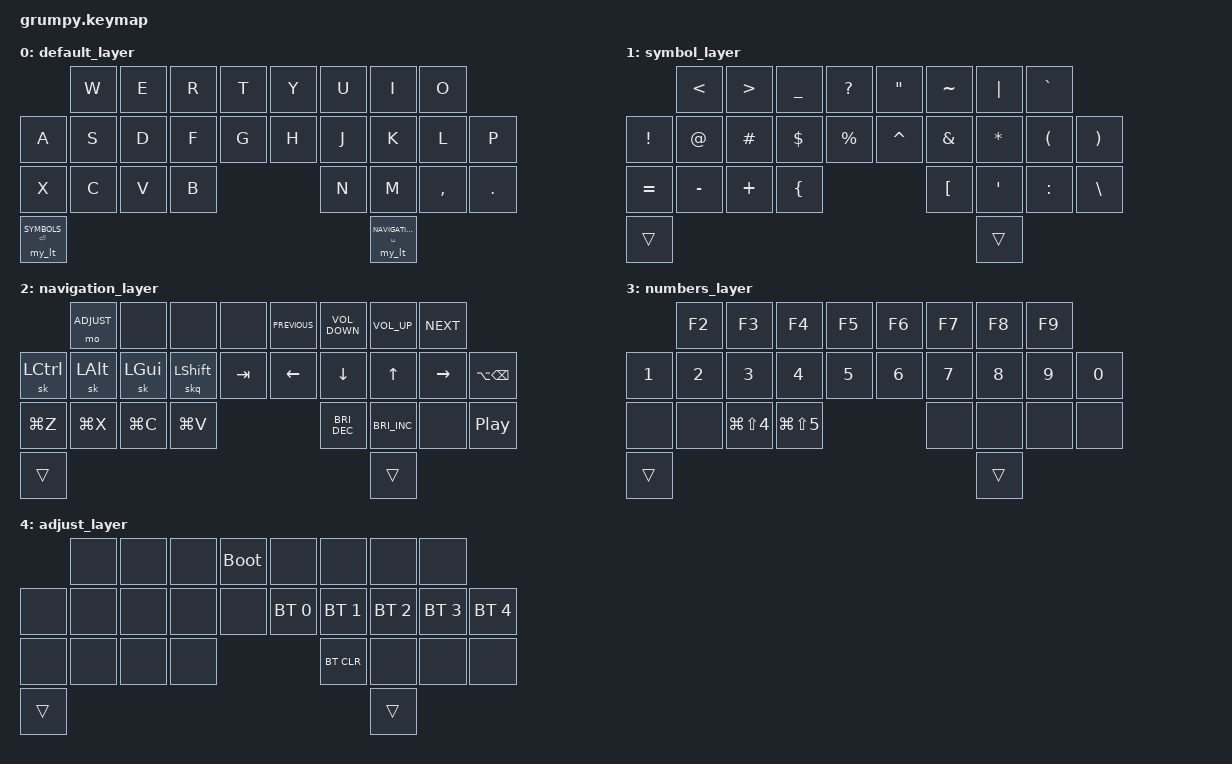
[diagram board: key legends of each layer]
#include "base_grumpy.h"
#include <behaviors.dtsi>
#include <dt-bindings/zmk/backlight.h>
#include <dt-bindings/zmk/bt.h>
#include <dt-bindings/zmk/keys.h>

/ {
    conditional_layers {
        compatible = "zmk,conditional-layers";
        tri_layer {
            if-layers = <SYMBOLS NAVIGATION>;
            then-layer = <NUMBERS>;
        };
    };
};
        //default_layer {
        //    bindings = <
        //                          &kp W &kp E &kp R  &kp T              &kp Y              &kp U &kp I &kp O
        //        &double_tap_key_a &kp S &kp D &kp F  &double_tap_key_g  &double_tap_key_h  &kp J &kp K &kp L   &double_tap_key_semi
        //        &kp Z             &kp X &kp C &kp V                     &kp M              &kp COMMA   &kp DOT &kp SLASH
        //                          &double_tap_key_enter                 &double_tap_key_space
        //    >;
        //};

/ {

    keymap {
        compatible = "zmk,keymap";

        default_layer {
            bindings = <
                      &kp W &kp E &kp R &kp T      &kp Y &kp U  &kp I  &kp O
                &kp A &kp S &kp D &kp F &kp G      &kp H &kp J  &kp K  &kp L   &kp P
                &kp X &kp C &kp V &kp B                  &kp N  &kp M  &kp COMMA &kp DOT
                &my_lt SYMBOLS ENTER                               &my_lt NAVIGATION SPACE
            >;
        };

        symbol_layer {
            bindings = <
                          &kp LT    &kp GT   &kp UNDER &kp QMARK    &kp DQT   &kp TILDE &kp PIPE    &kp GRAVE
                &kp EXCL  &kp AT    &kp HASH &kp DLLR  &kp PRCNT    &kp CARET &kp AMPS &kp ASTERISK &kp LPAR  &kp RPAR
                &kp EQUAL &kp MINUS &kp PLUS &kp LBRC                         &kp LBKT &kp SQT      &kp COLON &kp BSLH
                                             &trans                           &trans
            >;
        };

        navigation_layer {
            bindings = <
                           &mo ADJUST &none    &none       &none           &kp C_PREVIOUS &kp C_VOLUME_DOWN    &kp C_VOLUME_UP      &kp C_NEXT
                &sk LCTRL  &sk LALT  &sk LGUI  &skq LSHIFT &kp TAB         &kp LEFT       &kp DOWN             &kp UP               &kp RIGHT   &kp LA(BSPC)
                &kp LG(Z)  &kp LG(X) &kp LG(C) &kp LG(V)                                  &kp C_BRIGHTNESS_DEC &kp C_BRIGHTNESS_INC &none       &kp C_PLAY_PAUSE
                                               &trans                                     &trans
            >;
        };

        numbers_layer {
            bindings = <
                       &kp F2 &kp F3         &kp F4         &kp F5        &kp F6  &kp F7  &kp F8  &kp F9
                &kp N1 &kp N2 &kp N3         &kp N4         &kp N5        &kp N6  &kp N7  &kp N8  &kp N9  &kp N0
                &none  &none  &kp LG(LS(N4)) &kp LG(LS(N5))                       &none   &none   &none   &none
                                             &trans                               &trans

            >;
        };

        adjust_layer {
            bindings = <
                   &none  &none  &none   &bootloader       &none        &none        &none        &none
            &none  &none  &none  &none   &none             &bt BT_SEL 0 &bt BT_SEL 1 &bt BT_SEL 2 &bt BT_SEL 3 &bt BT_SEL 4
            &none  &none  &none  &none                                  &bt BT_CLR   &none        &none        &none
                                 &trans                                 &trans
            >;
        };

    };
};
